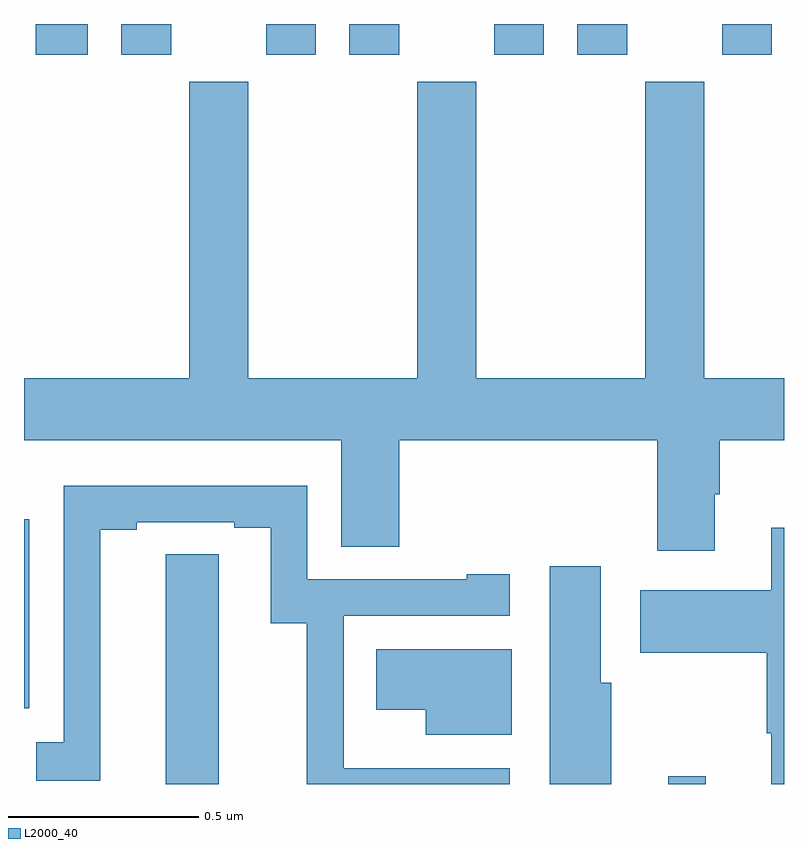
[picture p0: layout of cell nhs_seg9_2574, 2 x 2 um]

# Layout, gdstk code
import gdstk
lib = gdstk.Library(unit=1e-6, precision=1e-09)
def R(c, l, rs):  # rectangles x0, y0, x1, y1
    for r in rs: c.add(gdstk.rectangle(r[:2], r[2:], *l))
def P(c, l, *ps):  # polygons
    for p in ps: c.add(gdstk.Polygon(p, *l))
L2000_40 = (2000, 40)

nhs_seg9_2574 = lib.new_cell('nhs_seg9_2574')
R(nhs_seg9_2574, L2000_40, [(143.696,1211.5,143.794,1211.521), (142,1211.7,142.014,1212.197), (142.031,1213.419,142.168,1213.5), (142.256,1213.419,142.387,1213.5), (142.637,1213.419,142.768,1213.5), (142.856,1213.419,142.987,1213.5), (143.237,1213.419,143.368,1213.5), (143.456,1213.419,143.587,1213.5), (143.837,1213.419,143.968,1213.5)])
P(nhs_seg9_2574, L2000_40, [(143.818,1212.262),(143.831,1212.262),(143.831,1212.404),(144,1212.404),(144,1212.568),(143.79,1212.568),(143.79,1213.348),(143.635,1213.348),(143.635,1212.568),(143.19,1212.568),(143.19,1213.348),(143.035,1213.348),(143.035,1212.568),(142.59,1212.568),(142.59,1213.348),(142.435,1213.348),(142.435,1212.568),(142,1212.568),(142,1212.404),(142.835,1212.404),(142.835,1212.124),(142.988,1212.124),(142.988,1212.404),(143.666,1212.404),(143.666,1212.114),(143.818,1212.114)],
  [(143.278,1211.541),(142.844,1211.541),(142.844,1211.542),(142.842,1211.542),(142.842,1211.943),(143.278,1211.943),(143.278,1212.052),(143.165,1212.052),(143.165,1212.039),(142.746,1212.039),(142.746,1212.285),(142.104,1212.285),(142.104,1211.61),(142.032,1211.61),(142.032,1211.509),(142.201,1211.509),(142.201,1212.169),(142.297,1212.169),(142.297,1212.189),(142.553,1212.189),(142.553,1212.174),(142.649,1212.174),(142.649,1211.923),(142.744,1211.923),(142.744,1211.5),(143.278,1211.5)],
  [(144,1212.175),(143.966,1212.175),(143.966,1212.01),(143.622,1212.01),(143.622,1211.845),(143.955,1211.845),(143.955,1211.634),(143.966,1211.634),(143.966,1211.5),(144,1211.5)],
  [(142.513,1211.996),(142.512,1211.996),(142.512,1212.104),(142.373,1212.104),(142.373,1211.5),(142.513,1211.5)],
  [(143.545,1211.766),(143.518,1211.766),(143.518,1212.073),(143.384,1212.073),(143.384,1211.5),(143.545,1211.5)],
  [(143.284,1211.854),(142.927,1211.854),(142.927,1211.696),(143.057,1211.696),(143.057,1211.63),(143.284,1211.63)])

lib.write_gds('nhs_seg9_2574.gds')
